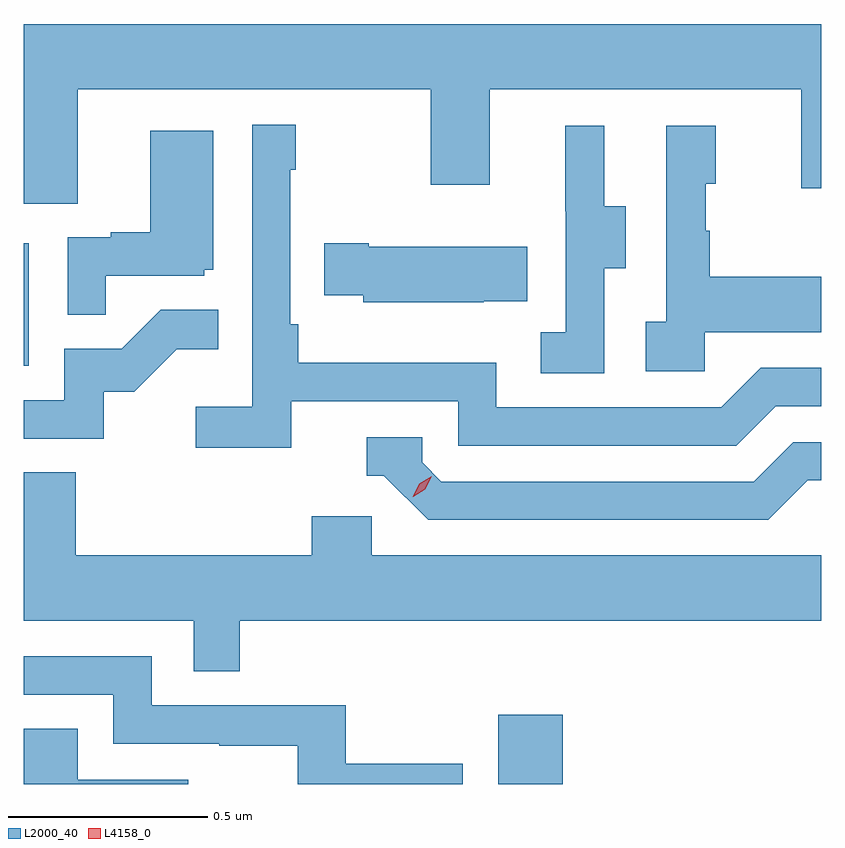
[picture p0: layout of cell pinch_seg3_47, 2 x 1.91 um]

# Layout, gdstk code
import gdstk
lib = gdstk.Library(unit=1e-6, precision=1e-09)
def R(c, l, rs):  # rectangles x0, y0, x1, y1
    for r in rs: c.add(gdstk.rectangle(r[:2], r[2:], *l))
def P(c, l, *ps):  # polygons
    for p in ps: c.add(gdstk.Polygon(p, *l))
L2000_40 = (2000, 40)
L4158_0 = (4158, 0)

pinch_seg3_47 = lib.new_cell('pinch_seg3_47')
R(pinch_seg3_47, L2000_40, [(1058.879,732.475,1059.04,732.649), (1057.689,733.524,1057.702,733.831)])
P(pinch_seg3_47, L2000_40, [(1057.825,734.216),(1058.71,734.216),(1058.71,733.977),(1058.857,733.977),(1058.857,734.216),(1059.638,734.216),(1059.638,733.968),(1059.689,733.968),(1059.689,734.38),(1057.689,734.38),(1057.689,733.93),(1057.825,733.93)],
  [(1058.36,733.434),(1058.778,733.434),(1058.778,733.323),(1059.475,733.323),(1059.574,733.422),(1059.689,733.422),(1059.689,733.518),(1059.537,733.518),(1059.438,733.419),(1058.874,733.419),(1058.874,733.531),(1058.378,733.531),(1058.378,733.627),(1058.358,733.627),(1058.358,734.015),(1058.371,734.015),(1058.371,734.128),(1058.262,734.128),(1058.262,733.42),(1058.121,733.42),(1058.121,733.318),(1058.36,733.318)],
  [(1059.144,733.768),(1059.199,733.768),(1059.199,733.923),(1059.145,733.923),(1059.145,734.125),(1059.047,734.125),(1059.047,733.911),(1059.048,733.911),(1059.048,733.607),(1058.985,733.607),(1058.985,733.504),(1059.144,733.504)],
  [(1059.396,733.607),(1059.689,733.607),(1059.689,733.747),(1059.409,733.747),(1059.409,733.862),(1059.399,733.862),(1059.399,733.98),(1059.424,733.98),(1059.424,734.125),(1059.3,734.125),(1059.3,733.634),(1059.249,733.634),(1059.249,733.509),(1059.396,733.509)],
  [(1057.895,733.749),(1058.142,733.749),(1058.142,733.764),(1058.164,733.764),(1058.164,734.113),(1058.006,734.113),(1058.006,733.858),(1057.907,733.858),(1057.907,733.845),(1057.8,733.845),(1057.8,733.651),(1057.895,733.651)],
  [(1058.843,733.685),(1058.951,733.685),(1058.951,733.822),(1058.554,733.822),(1058.554,733.83),(1058.443,733.83),(1058.443,733.7),(1058.541,733.7),(1058.541,733.682),(1058.843,733.682)],
  [(1057.89,733.458),(1057.966,733.458),(1058.073,733.565),(1058.177,733.565),(1058.177,733.664),(1058.033,733.664),(1057.935,733.566),(1057.791,733.566),(1057.791,733.437),(1057.689,733.437),(1057.689,733.341),(1057.89,733.341)],
  [(1059.655,733.236),(1059.689,733.236),(1059.689,733.332),(1059.618,733.332),(1059.519,733.233),(1058.736,733.233),(1058.688,733.281),(1058.688,733.344),(1058.549,733.344),(1058.549,733.248),(1058.592,733.248),(1058.703,733.137),(1059.556,733.137)],
  [(1058.231,732.884),(1059.689,732.884),(1059.689,733.048),(1058.562,733.048),(1058.562,733.146),(1058.411,733.146),(1058.411,733.048),(1057.82,733.048),(1057.82,733.256),(1057.689,733.256),(1057.689,732.884),(1058.115,732.884),(1058.115,732.757),(1058.231,732.757)],
  [(1058.79,732.526),(1058.497,732.526),(1058.497,732.672),(1058.01,732.672),(1058.01,732.795),(1057.689,732.795),(1057.689,732.699),(1057.914,732.699),(1057.914,732.576),(1058.179,732.576),(1058.179,732.571),(1058.376,732.571),(1058.376,732.475),(1058.79,732.475)],
  [(1058.102,732.486),(1057.825,732.486),(1057.825,732.614),(1057.689,732.614),(1057.689,732.475),(1058.102,732.475)])
P(pinch_seg3_47, L4158_0, [(1058.665,733.195),(1058.665,733.195),(1058.681,733.228),(1058.712,733.247),(1058.712,733.247),(1058.712,733.247),(1058.696,733.214),(1058.666,733.195)])

lib.write_gds('pinch_seg3_47.gds')
